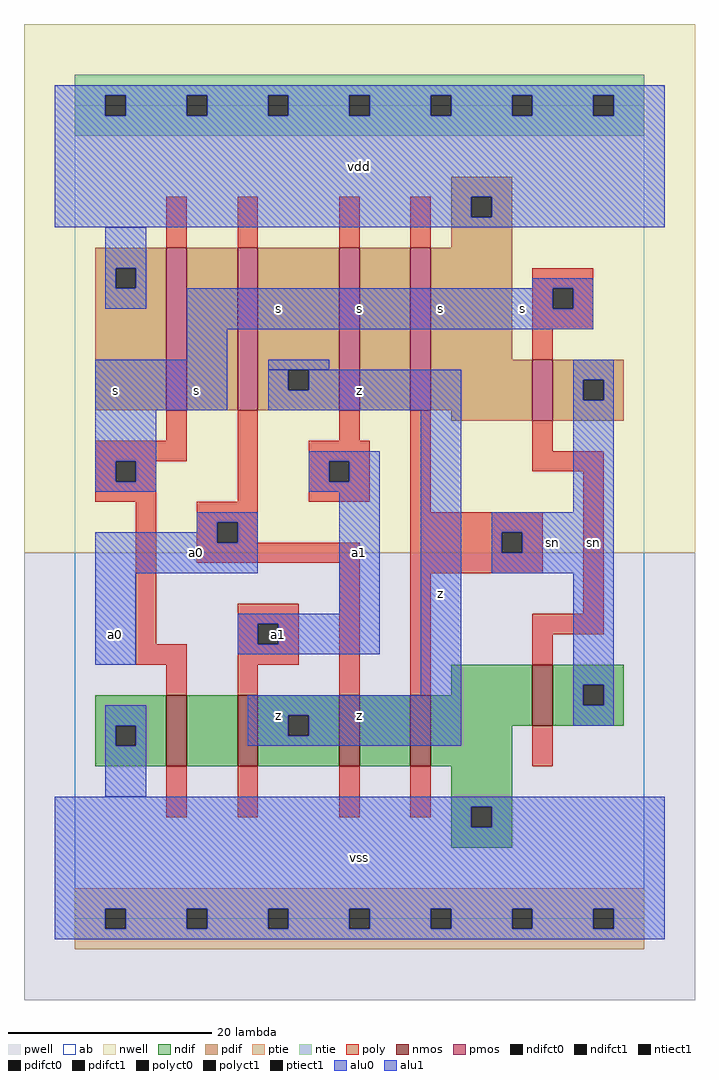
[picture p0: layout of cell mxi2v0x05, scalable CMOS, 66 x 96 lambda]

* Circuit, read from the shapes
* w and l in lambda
.subckt mxi2v0x05 a0 a1 s sn vdd vss z
M1 n1 s vss vss nfet w=7 l=2
M2 z a1 n1 vss nfet w=7 l=2
M3 n2 a0 z vss nfet w=7 l=2
M4 vss sn n2 vss nfet w=7 l=2
M5 sn s vss vss nfet w=6 l=2
M6 n3 s vdd vdd pfet w=16 l=2
M7 z a0 n3 vdd pfet w=16 l=2
M8 n4 a1 z vdd pfet w=16 l=2
M9 vdd sn n4 vdd pfet w=16 l=2
M10 sn s vdd vdd pfet w=6 l=2
.ends

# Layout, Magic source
magic
tech scmos
<< ab >>
rect 0 0 56 80
<< nwell >>
rect -5 36 61 88
<< pwell >>
rect -5 -8 61 36
<< poly >>
rect 9 66 11 71
rect 16 66 18 71
rect 26 66 28 71
rect 33 66 35 71
rect 45 62 51 64
rect 45 60 47 62
rect 49 60 51 62
rect 45 58 51 60
rect 45 55 47 58
rect 9 47 11 50
rect 2 45 11 47
rect 2 43 4 45
rect 6 43 8 45
rect 2 41 8 43
rect 16 41 18 50
rect 26 47 28 50
rect 23 45 29 47
rect 23 43 25 45
rect 27 43 29 45
rect 23 41 29 43
rect 6 27 8 41
rect 12 39 18 41
rect 12 37 14 39
rect 16 37 18 39
rect 33 40 35 50
rect 45 46 47 49
rect 45 44 52 46
rect 33 38 46 40
rect 12 35 28 37
rect 16 29 22 31
rect 16 27 18 29
rect 20 27 22 29
rect 6 25 11 27
rect 9 22 11 25
rect 16 25 22 27
rect 16 22 18 25
rect 26 22 28 35
rect 33 36 42 38
rect 44 36 46 38
rect 33 34 46 36
rect 33 22 35 34
rect 50 30 52 44
rect 45 28 52 30
rect 45 25 47 28
rect 45 15 47 19
rect 9 10 11 15
rect 16 10 18 15
rect 26 10 28 15
rect 33 10 35 15
<< ndif >>
rect 37 22 45 25
rect 2 19 9 22
rect 2 17 4 19
rect 6 17 9 19
rect 2 15 9 17
rect 11 15 16 22
rect 18 20 26 22
rect 18 18 21 20
rect 23 18 26 20
rect 18 15 26 18
rect 28 15 33 22
rect 35 19 45 22
rect 47 23 54 25
rect 47 21 50 23
rect 52 21 54 23
rect 47 19 54 21
rect 35 15 43 19
rect 37 11 43 15
rect 37 9 39 11
rect 41 9 43 11
rect 37 7 43 9
<< pdif >>
rect 37 71 43 73
rect 37 69 39 71
rect 41 69 43 71
rect 37 66 43 69
rect 2 64 9 66
rect 2 62 4 64
rect 6 62 9 64
rect 2 50 9 62
rect 11 50 16 66
rect 18 54 26 66
rect 18 52 21 54
rect 23 52 26 54
rect 18 50 26 52
rect 28 50 33 66
rect 35 55 43 66
rect 35 50 45 55
rect 37 49 45 50
rect 47 53 54 55
rect 47 51 50 53
rect 52 51 54 53
rect 47 49 54 51
<< alu1 >>
rect -2 81 58 82
rect -2 79 3 81
rect 5 79 11 81
rect 13 79 19 81
rect 21 79 27 81
rect 29 79 35 81
rect 37 79 43 81
rect 45 79 51 81
rect 53 79 58 81
rect -2 71 58 79
rect -2 69 39 71
rect 41 69 58 71
rect -2 68 58 69
rect 45 62 51 63
rect 11 60 47 62
rect 49 60 51 62
rect 11 58 51 60
rect 11 55 15 58
rect 2 50 15 55
rect 19 52 21 54
rect 23 52 38 54
rect 19 50 38 52
rect 2 45 8 50
rect 2 43 4 45
rect 6 43 8 45
rect 2 42 8 43
rect 23 45 30 46
rect 23 43 25 45
rect 27 43 30 45
rect 23 42 30 43
rect 12 39 18 40
rect 12 38 14 39
rect 2 37 14 38
rect 16 37 18 39
rect 2 34 18 37
rect 2 25 6 34
rect 26 30 30 42
rect 16 29 30 30
rect 16 27 18 29
rect 20 27 30 29
rect 16 26 30 27
rect 34 22 38 50
rect 17 20 38 22
rect 17 18 21 20
rect 23 18 38 20
rect 17 17 38 18
rect -2 11 58 12
rect -2 9 39 11
rect 41 9 58 11
rect -2 1 58 9
rect -2 -1 3 1
rect 5 -1 11 1
rect 13 -1 19 1
rect 21 -1 27 1
rect 29 -1 35 1
rect 37 -1 43 1
rect 45 -1 51 1
rect 53 -1 58 1
rect -2 -2 58 -1
<< ptie >>
rect 0 1 56 3
rect 0 -1 3 1
rect 5 -1 11 1
rect 13 -1 19 1
rect 21 -1 27 1
rect 29 -1 35 1
rect 37 -1 43 1
rect 45 -1 51 1
rect 53 -1 56 1
rect 0 -3 56 -1
<< ntie >>
rect 0 81 56 83
rect 0 79 3 81
rect 5 79 11 81
rect 13 79 19 81
rect 21 79 27 81
rect 29 79 35 81
rect 37 79 43 81
rect 45 79 51 81
rect 53 79 56 81
rect 0 77 56 79
<< nmos >>
rect 9 15 11 22
rect 16 15 18 22
rect 26 15 28 22
rect 33 15 35 22
rect 45 19 47 25
<< pmos >>
rect 9 50 11 66
rect 16 50 18 66
rect 26 50 28 66
rect 33 50 35 66
rect 45 49 47 55
<< polyct0 >>
rect 42 36 44 38
<< polyct1 >>
rect 47 60 49 62
rect 4 43 6 45
rect 25 43 27 45
rect 14 37 16 39
rect 18 27 20 29
<< ndifct0 >>
rect 4 17 6 19
rect 50 21 52 23
<< ndifct1 >>
rect 21 18 23 20
rect 39 9 41 11
<< ntiect1 >>
rect 3 79 5 81
rect 11 79 13 81
rect 19 79 21 81
rect 27 79 29 81
rect 35 79 37 81
rect 43 79 45 81
rect 51 79 53 81
<< ptiect1 >>
rect 3 -1 5 1
rect 11 -1 13 1
rect 19 -1 21 1
rect 27 -1 29 1
rect 35 -1 37 1
rect 43 -1 45 1
rect 51 -1 53 1
<< pdifct0 >>
rect 4 62 6 64
rect 50 51 52 53
<< pdifct1 >>
rect 39 69 41 71
rect 21 52 23 54
<< alu0 >>
rect 3 64 7 68
rect 3 62 4 64
rect 6 62 7 64
rect 3 60 7 62
rect 19 54 25 55
rect 49 53 53 55
rect 49 51 50 53
rect 52 51 53 53
rect 49 40 53 51
rect 41 38 53 40
rect 41 36 42 38
rect 44 36 53 38
rect 41 34 53 36
rect 3 19 7 21
rect 3 17 4 19
rect 6 17 7 19
rect 49 23 53 34
rect 49 21 50 23
rect 52 21 53 23
rect 49 19 53 21
rect 3 12 7 17
<< labels >>
rlabel alu0 47 37 47 37 6 sn
rlabel alu0 51 37 51 37 6 sn
rlabel alu1 4 28 4 28 6 a0
rlabel alu1 4 52 4 52 6 s
rlabel alu1 20 20 20 20 6 z
rlabel alu1 12 36 12 36 6 a0
rlabel alu1 20 28 20 28 6 a1
rlabel alu1 12 52 12 52 6 s
rlabel alu1 20 60 20 60 6 s
rlabel alu1 28 6 28 6 6 vss
rlabel alu1 28 20 28 20 6 z
rlabel alu1 28 36 28 36 6 a1
rlabel alu1 36 32 36 32 6 z
rlabel alu1 28 52 28 52 6 z
rlabel alu1 36 60 36 60 6 s
rlabel alu1 28 60 28 60 6 s
rlabel alu1 28 74 28 74 6 vdd
rlabel alu1 44 60 44 60 6 s
<< end >>
